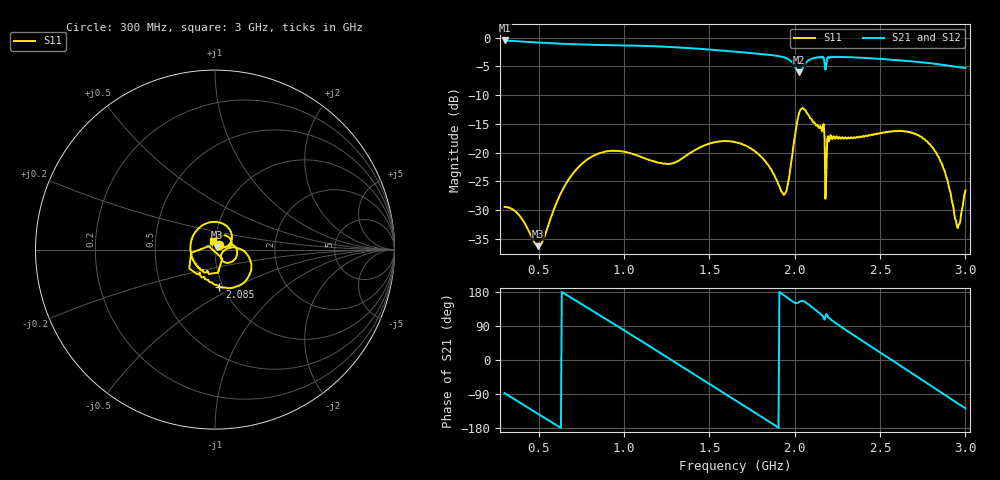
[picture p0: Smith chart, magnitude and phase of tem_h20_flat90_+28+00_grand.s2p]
! tem_h20_flat90_+28+00_grand
! simulated by sim/fixtures_fdtd.py (S12 = S21, S22 not computed)
# HZ S RI R 50
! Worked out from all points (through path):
!   541 points, 300 MHz to 3 GHz, reference 50 ohm
!   highest |S21| = -0.48 dB at 300 MHz (marker M1); lowest = -6.0 dB at 2.025 GHz (marker M2)
!   group delay of S21, straight-line fit = 777 ps
!   lowest |S11| = -36.2 dB at 495 MHz (marker M3), VSWR 1.03, Z = 50.9 + j1.27 ohm
!   |S11| at or under -10 dB: start of sweep to end of sweep
!   |S22| runs from - to - dB; largest |S21 - S12| = 0
!   S11 on the Smith chart (normalised r, x): 300 MHz: 1.05, +0.05; 2.085 GHz: 0.96, -0.42; 3 GHz: 0.97, +0.09
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3e8  0.0243 0.0235  0.0434 -0.9456  0.0434 -0.9456  0 0
4.95e8  0.00904 0.0125  -0.7143 -0.5605  -0.7143 -0.5605  0 0
6.2e8  -0.00233 0.0414  -0.8872 -0.0557  -0.8872 -0.0557  0 0
7.5e8  0.0243 0.0756  -0.7393 0.4659  -0.7393 0.4659  0 0
9.75e8  0.0897 0.0516  0.067 0.8552  0.067 0.8552  0 0
1.2e9  0.0801 0.0181  0.7802 0.3144  0.7802 0.3144  0 0
1.325e9  0.0819 0.0269  0.7988 -0.1918  0.7988 -0.1918  0 0
1.46e9  0.1129 0.0156  0.4927 -0.6278  0.4927 -0.6278  0 0
1.65e9  0.1124 -0.0514  -0.2029 -0.7289  -0.2029 -0.7289  0 0
1.805e9  0.057 -0.0716  -0.621 -0.3666  -0.621 -0.3666  0 0
1.94e9  0.0392 -0.0187  -0.6624 0.1153  -0.6624 0.1153  0 0
2.025e9  0.2029 -0.0828  -0.4446 0.23  -0.4446 0.23  0 0
2.085e9  0.0242 -0.2066  -0.5251 0.3688  -0.5251 0.3688  0 0
2.1e9  -0.00432 -0.195  -0.5021 0.4274  -0.5021 0.4274  0 0
2.16e9  -0.0834 -0.1295  -0.3145 0.5903  -0.3145 0.5903  0 0
2.19e9  0.017 -0.1287  -0.3183 0.5784  -0.3183 0.5784  0 0
2.2e9  -0.0437 -0.1173  -0.2392 0.6217  -0.2392 0.6217  0 0
2.305e9  -0.1198 -0.0563  0.1445 0.6606  0.1445 0.6606  0 0
2.55e9  -0.0683 0.1362  0.6438 0.0603  0.6438 0.0603  0 0
2.785e9  0.0934 0.0761  0.2633 -0.5408  0.2633 -0.5408  0 0
2.95e9  0.0165 0.0162  -0.2178 -0.5137  -0.2178 -0.5137  0 0
3e9  -0.0108 0.0456  -0.3325 -0.4326  -0.3325 -0.4326  0 0
